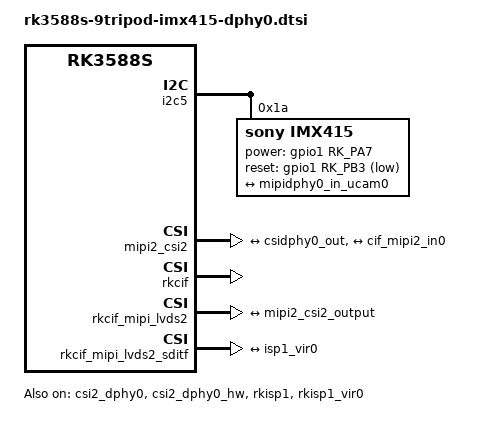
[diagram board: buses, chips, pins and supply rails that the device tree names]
// SPDX-License-Identifier: (GPL-2.0+ OR MIT)
/*
 * Copyright (c) 2021 Rockchip Electronics Co., Ltd.
 *
 */

&csi2_dphy0 {
	status = "okay";

	ports {
		#address-cells = <1>;
		#size-cells = <0>;
		port@0 {
			reg = <0>;
			#address-cells = <1>;
			#size-cells = <0>;

			mipidphy0_in_ucam0: endpoint@1 {
				reg = <1>;
				remote-endpoint = <&imx415_out0>;
				data-lanes = <1 2 3 4>;
			};
		};
		port@1 {
			reg = <1>;
			#address-cells = <1>;
			#size-cells = <0>;

			csidphy0_out: endpoint@0 {
				reg = <0>;
				remote-endpoint = <&mipi2_csi2_input>;
			};
		};
	};
};

&csi2_dphy0_hw {
	status = "okay";
};

&i2c5 {
	status = "okay";
	pinctrl-names = "default";
	pinctrl-0 = <&i2c5m3_xfer>;
	
	imx415: imx415@1a {
		compatible = "sony,imx415";
		reg = <0x1a>;
		clocks = <&cru CLK_MIPI_CAMARAOUT_M2>;
		clock-names = "xvclk";
		pinctrl-names = "default";
		pinctrl-0 = <&mipim1_camera2_clk>;
		power-domains = <&power RK3588_PD_VI>;
		power-gpios = <&gpio1 RK_PA7 GPIO_ACTIVE_HIGH>;
		reset-gpios = <&gpio1 RK_PB3 GPIO_ACTIVE_LOW>;
		//pwdn-gpios = <&gpio1 RK_PA7 GPIO_ACTIVE_HIGH>;
		rockchip,camera-module-index = <0>;
		rockchip,camera-module-facing = "back";
		rockchip,camera-module-name = "CMK-OT2022-PX1";
		rockchip,camera-module-lens-name = "IR0147-50IRC-8M-F20";
		port {
			imx415_out0: endpoint {
				remote-endpoint = <&mipidphy0_in_ucam0>;
				data-lanes = <1 2 3 4>;
			};
		};
	};
};

&mipi2_csi2 {
	status = "okay";

	ports {
		#address-cells = <1>;
		#size-cells = <0>;

		port@0 {
			reg = <0>;
			#address-cells = <1>;
			#size-cells = <0>;

			mipi2_csi2_input: endpoint@1 {
				reg = <1>;
				remote-endpoint = <&csidphy0_out>;
			};
		};

		port@1 {
			reg = <1>;
			#address-cells = <1>;
			#size-cells = <0>;

			mipi2_csi2_output: endpoint@0 {
				reg = <0>;
				remote-endpoint = <&cif_mipi2_in0>;
			};
		};
	};
};

&pinctrl {
	cam {
		mipidphy0_pwr: mipidphy0-pwr {
			rockchip,pins =
				/* camera power en */
				<1 RK_PB2 RK_FUNC_GPIO &pcfg_pull_none>;
		};
	};
};

&rkcif {
	status = "okay";
};

&rkcif_mipi_lvds2 {
	status = "okay";

	port {
		cif_mipi2_in0: endpoint {
			remote-endpoint = <&mipi2_csi2_output>;
		};
	};
};

&rkcif_mipi_lvds2_sditf {
	status = "okay";

	port {
		mipi_lvds2_sditf: endpoint {
			remote-endpoint = <&isp1_vir0>;
		};
	};
};

&rkcif_mmu {
	status = "okay";
};

&rkisp1 {
	status = "okay";
};

&isp1_mmu {
	status = "okay";
};

&rkisp1_vir0 {
	status = "okay";

	port {
		#address-cells = <1>;
		#size-cells = <0>;

		isp1_vir0: endpoint@0 {
			reg = <0>;
			remote-endpoint = <&mipi_lvds2_sditf>;
		};
	};
};
